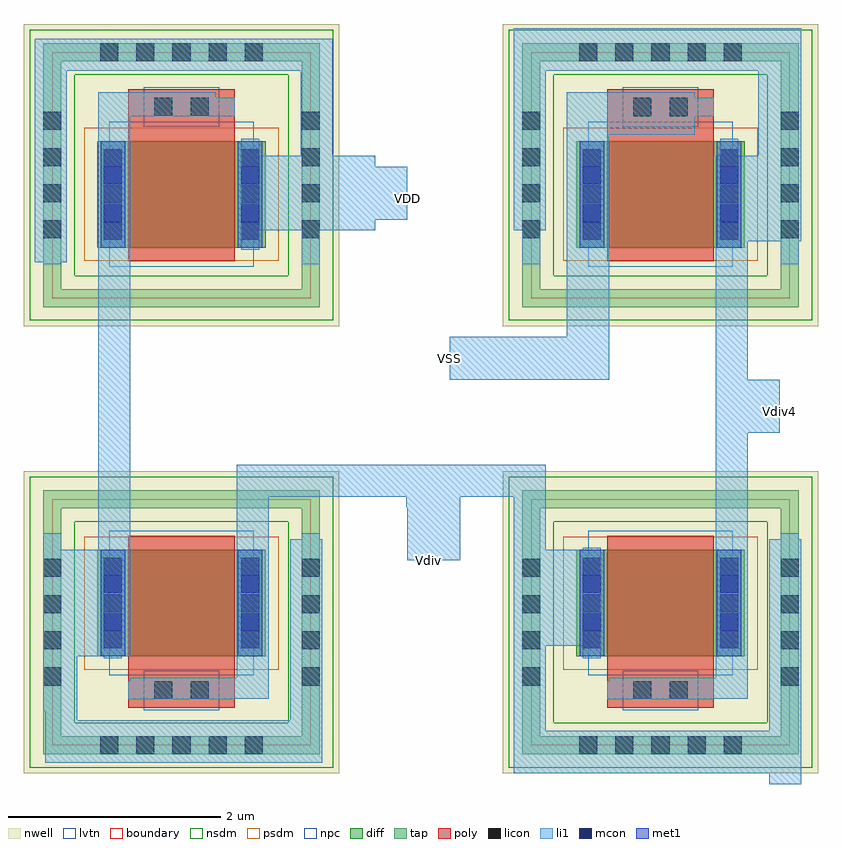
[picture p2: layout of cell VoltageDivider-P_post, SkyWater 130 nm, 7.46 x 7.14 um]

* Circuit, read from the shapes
.subckt VoltageDivider-P_post VDD VSS Vdiv Vdiv4
XM1 Vdiv Vdiv n1 n1 sky130_fd_pr__pfet_01v8_lvt w=1 l=1
XM2 VDD n1 n1 VDD sky130_fd_pr__pfet_01v8_lvt w=1 l=1
XM3 Vdiv4 Vdiv4 Vdiv Vdiv sky130_fd_pr__pfet_01v8_lvt w=1 l=1
XM4 Vdiv4 VSS VSS Vdiv4 sky130_fd_pr__pfet_01v8_lvt w=1 l=1
.ends

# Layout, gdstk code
import gdstk
lib = gdstk.Library(unit=1e-6, precision=1e-09)
def R(c, l, rs):  # rectangles x0, y0, x1, y1
    for r in rs: c.add(gdstk.rectangle(r[:2], r[2:], *l))
def A(c, l, x, y, w, h, nx, ny, dx, dy):  # array of equal rectangles
    R(c, l, [(x+i*dx, y+j*dy, x+i*dx+w, y+j*dy+h) for i in range(nx) for j in range(ny)])
nwell = (64, 20)
diff = (65, 20)
tap = (65, 44)
poly = (66, 20)
licon = (66, 44)
li1 = (67, 20)
mcon = (67, 44)
met1 = (68, 20)
nsdm = (93, 44)
psdm = (94, 20)
npc = (95, 20)
lvtn = (125, 44)
boundary = (235, 4)

sky130_fd_pr__pfet_01v8_ = lib.new_cell('sky130_fd_pr__pfet_01v8_lvt_U25KLQ')
R(sky130_fd_pr__pfet_01v8_, nwell, [(-1.48,-1.42,1.48,1.42)])
R(sky130_fd_pr__pfet_01v8_, diff, [(-0.79,-0.32,0.79,0.68)])
R(sky130_fd_pr__pfet_01v8_, tap, [(-1.3,-1.24,1.3,-1.07), (-1.3,-1.07,-1.13,1.07), (1.13,-1.07,1.3,1.07), (-1.3,1.07,1.3,1.24)])
R(sky130_fd_pr__pfet_01v8_, poly, [(-0.5,-0.805,0.5,0.81)])
A(sky130_fd_pr__pfet_01v8_, licon, -0.765, -1.24, 0.17, 0.17, 5, 1, 0.34, 0)
A(sky130_fd_pr__pfet_01v8_, licon, -1.3, -0.595, 0.17, 0.17, 1, 4, 0, 0.34)
A(sky130_fd_pr__pfet_01v8_, licon, 1.13, -0.595, 0.17, 0.17, 1, 4, 0, 0.34)
A(sky130_fd_pr__pfet_01v8_, licon, -0.73, -0.245, 0.17, 0.17, 1, 3, 0, 0.34)
A(sky130_fd_pr__pfet_01v8_, licon, 0.56, -0.245, 0.17, 0.17, 1, 3, 0, 0.34)
R(sky130_fd_pr__pfet_01v8_, licon, [(-0.255,-0.725,-0.085,-0.555), (0.085,-0.725,0.255,-0.555)])
R(sky130_fd_pr__pfet_01v8_, li1, [(-0.9,-1.24,0.9,-1.07), (-1.3,-0.835,-1.13,0.835), (1.13,-0.835,1.3,0.835), (-0.5,-0.725,0.5,-0.555), (-0.73,-0.34,-0.56,0.7), (0.56,-0.34,0.73,0.7)])
R(sky130_fd_pr__pfet_01v8_, mcon, [(-0.73,-0.085,-0.56,0.085), (0.56,-0.085,0.73,0.085), (-0.73,0.275,-0.56,0.445), (0.56,0.275,0.73,0.445)])
R(sky130_fd_pr__pfet_01v8_, met1, [(-0.76,-0.32,-0.53,0.68), (0.53,-0.32,0.76,0.68)])
R(sky130_fd_pr__pfet_01v8_, nsdm, [(-1.425,-1.365,1.425,-0.945), (-1.425,-0.945,-1.005,0.945), (1.005,-0.945,1.425,0.945), (-1.425,0.945,1.425,1.365)])
R(sky130_fd_pr__pfet_01v8_, psdm, [(-0.915,-0.445,0.915,0.805)])
R(sky130_fd_pr__pfet_01v8_, npc, [(-0.355,-0.825,0.355,-0.455)])
R(sky130_fd_pr__pfet_01v8_, lvtn, [(-0.68,-0.5,0.68,0.86)])
R(sky130_fd_pr__pfet_01v8_, boundary, [(-1.215,-1.155,1.215,1.155)])

c_sky130_fd_pr__pfet_01v8_ = lib.new_cell('sky130_fd_pr__pfet_01v8_lvt_U25BZR')
R(c_sky130_fd_pr__pfet_01v8_, nwell, [(-1.48,-1.42,1.48,1.42)])
R(c_sky130_fd_pr__pfet_01v8_, diff, [(-0.79,-0.68,0.79,0.32)])
R(c_sky130_fd_pr__pfet_01v8_, tap, [(-1.3,-1.24,1.3,-1.07), (-1.3,-1.07,-1.13,1.07), (1.13,-1.07,1.3,1.07), (-1.3,1.07,1.3,1.24)])
R(c_sky130_fd_pr__pfet_01v8_, poly, [(-0.5,-0.81,0.5,0.805)])
A(c_sky130_fd_pr__pfet_01v8_, licon, -0.73, -0.605, 0.17, 0.17, 1, 3, 0, 0.34)
A(c_sky130_fd_pr__pfet_01v8_, licon, 0.56, -0.605, 0.17, 0.17, 1, 3, 0, 0.34)
A(c_sky130_fd_pr__pfet_01v8_, licon, -1.3, -0.595, 0.17, 0.17, 1, 4, 0, 0.34)
A(c_sky130_fd_pr__pfet_01v8_, licon, 1.13, -0.595, 0.17, 0.17, 1, 4, 0, 0.34)
A(c_sky130_fd_pr__pfet_01v8_, licon, -0.765, 1.07, 0.17, 0.17, 5, 1, 0.34, 0)
R(c_sky130_fd_pr__pfet_01v8_, licon, [(-0.255,0.555,-0.085,0.725), (0.085,0.555,0.255,0.725)])
R(c_sky130_fd_pr__pfet_01v8_, li1, [(-1.3,-0.835,-1.13,0.835), (1.13,-0.835,1.3,0.835), (-0.73,-0.7,-0.56,0.34), (0.56,-0.7,0.73,0.34), (-0.5,0.555,0.5,0.725), (-0.9,1.07,0.9,1.24)])
R(c_sky130_fd_pr__pfet_01v8_, mcon, [(-0.73,-0.445,-0.56,-0.275), (0.56,-0.445,0.73,-0.275), (-0.73,-0.085,-0.56,0.085), (0.56,-0.085,0.73,0.085)])
R(c_sky130_fd_pr__pfet_01v8_, met1, [(-0.76,-0.68,-0.53,0.32), (0.53,-0.68,0.76,0.32)])
R(c_sky130_fd_pr__pfet_01v8_, nsdm, [(-1.425,-1.365,1.425,-0.945), (-1.425,-0.945,-1.005,0.945), (1.005,-0.945,1.425,0.945), (-1.425,0.945,1.425,1.365)])
R(c_sky130_fd_pr__pfet_01v8_, psdm, [(-0.915,-0.805,0.915,0.445)])
R(c_sky130_fd_pr__pfet_01v8_, npc, [(-0.355,0.455,0.355,0.825)])
R(c_sky130_fd_pr__pfet_01v8_, lvtn, [(-0.68,-0.86,0.68,0.5)])
R(c_sky130_fd_pr__pfet_01v8_, boundary, [(-1.215,-1.155,1.215,1.155)])

voltagedivider_p_post = lib.new_cell('VoltageDivider-P_post')
R(voltagedivider_p_post, li1, [(2.1,-1.5,2.4,-1.4), (-0.3,-1.4,2.4,-1), (-4.7,-1.3,-2.1,-0.9), (-0.3,-1,0,-0.2), (2.1,-1,2.4,0.8), (-4.7,-0.9,-4.4,-0.3), (-2.4,-0.9,-2.1,0.8), (-3.9,-0.7,-2.6,-0.5), (0.6,-0.7,1.9,-0.5), (-2.9,-0.5,-2.6,1.2), (1.6,-0.5,1.9,1.8), (-4.7,-0.3,-3.9,0.7), (-0.3,-0.2,0.5,0.7), (-1.3,0.6,-0.8,1.1), (-4.2,0.7,-3.9,4.8), (-0.3,0.7,0,1.2), (-1.31,1.1,-0.8,1.2), (-2.9,1.2,0,1.5), (1.6,1.8,2.2,2.3), (-0.9,2.3,0.6,2.7), (1.6,2.3,1.9,3.6), (0.2,2.7,0.6,4.6), (-4.8,3.4,-4.5,5.2), (1.6,3.6,2.4,4.4), (-2.8,3.7,-1.6,3.8), (-0.3,3.7,0,5.2), (-2.8,3.8,-1.3,4.3), (-2.8,4.3,-1.6,4.4), (-2.3,4.4,-2,5.2), (2,4.4,2.4,5.2), (0.2,4.6,1.4,5), (-4.2,4.8,-3.1,5), (-4.8,5.2,-2,5.5), (-0.3,5.2,2.4,5.6)])
voltagedivider_p_post.add(gdstk.Reference(sky130_fd_pr__pfet_01v8_, (-3.42,0.02)))
voltagedivider_p_post.add(gdstk.Reference(sky130_fd_pr__pfet_01v8_, (1.08,0.02)))
voltagedivider_p_post.add(gdstk.Reference(c_sky130_fd_pr__pfet_01v8_, (1.08,4.22)))
voltagedivider_p_post.add(gdstk.Reference(c_sky130_fd_pr__pfet_01v8_, (-3.42,4.22)))
voltagedivider_p_post.add(gdstk.Label('VDD', (-1.3,4), layer=67, texttype=16))
voltagedivider_p_post.add(gdstk.Label('VSS', (-0.9,2.5), layer=67, texttype=16))
voltagedivider_p_post.add(gdstk.Label('Vdiv', (-1.1,0.6), layer=67, texttype=16))
voltagedivider_p_post.add(gdstk.Label('Vdiv4', (2.2,2), layer=67, texttype=16))

lib.write_gds('VoltageDivider-P_post.gds')
